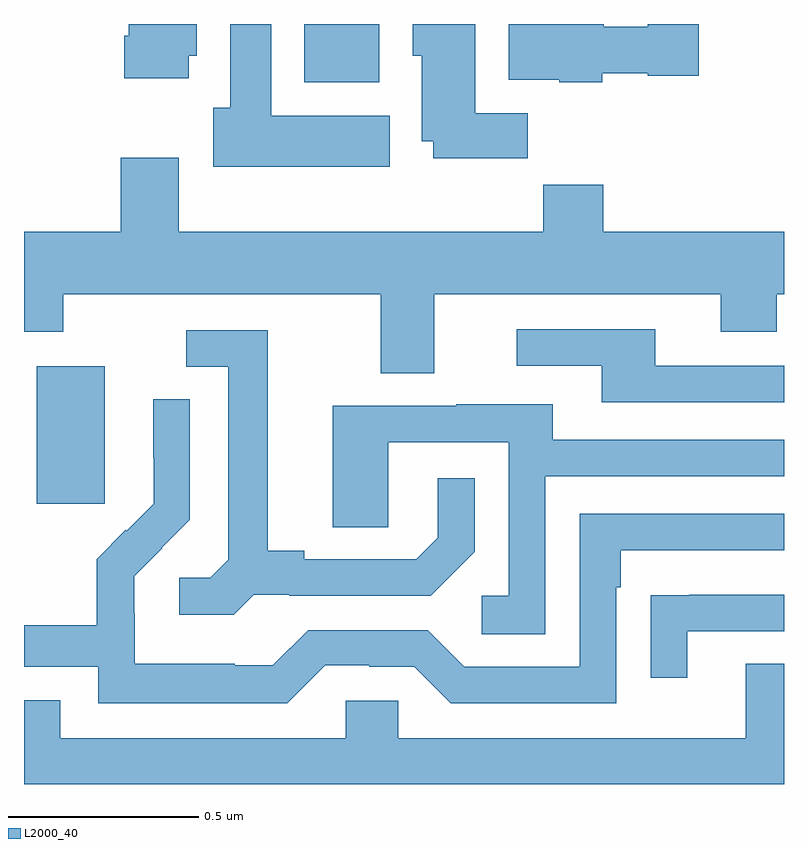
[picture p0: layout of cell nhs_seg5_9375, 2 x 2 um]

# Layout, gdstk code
import gdstk
lib = gdstk.Library(unit=1e-6, precision=1e-09)
def R(c, l, rs):  # rectangles x0, y0, x1, y1
    for r in rs: c.add(gdstk.rectangle(r[:2], r[2:], *l))
def P(c, l, *ps):  # polygons
    for p in ps: c.add(gdstk.Polygon(p, *l))
L2000_40 = (2000, 40)

nhs_seg5_9375 = lib.new_cell('nhs_seg5_9375')
R(nhs_seg5_9375, L2000_40, [(233.033,861.537,233.212,861.898), (233.738,862.646,233.935,862.799)])
P(nhs_seg5_9375, L2000_40, [(234.522,862.67),(234.642,862.67),(234.642,862.663),(234.775,862.663),(234.775,862.799),(234.642,862.799),(234.642,862.792),(234.526,862.792),(234.526,862.799),(234.275,862.799),(234.275,862.652),(234.408,862.652),(234.408,862.646),(234.522,862.646)],
  [(234.326,862.564),(234.187,862.564),(234.187,862.799),(234.023,862.799),(234.023,862.716),(234.047,862.716),(234.047,862.49),(234.077,862.49),(234.077,862.446),(234.326,862.446)],
  [(233.434,862.716),(233.455,862.716),(233.455,862.799),(233.276,862.799),(233.276,862.768),(233.264,862.768),(233.264,862.656),(233.434,862.656)],
  [(233.962,862.558),(233.65,862.558),(233.65,862.799),(233.543,862.799),(233.543,862.578),(233.498,862.578),(233.498,862.424),(233.962,862.424)],
  [(234.079,862.088),(234.833,862.088),(234.833,861.989),(234.981,861.989),(234.981,862.088),(235,862.088),(235,862.252),(234.524,862.252),(234.524,862.376),(234.367,862.376),(234.367,862.252),(233.407,862.252),(233.407,862.447),(233.255,862.447),(233.255,862.252),(233,862.252),(233,861.989),(233.103,861.989),(233.103,862.088),(233.939,862.088),(233.939,861.88),(234.079,861.88)],
  [(235,861.9),(234.661,861.9),(234.661,861.996),(234.297,861.996),(234.297,861.9),(234.521,861.9),(234.521,861.804),(235,861.804)],
  [(233.604,861.297),(233.698,861.297),(233.698,861.294),(234.07,861.294),(234.186,861.41),(234.186,861.604),(234.089,861.604),(234.089,861.447),(234.032,861.39),(233.737,861.39),(233.737,861.413),(233.641,861.413),(233.641,861.993),(233.427,861.993),(233.427,861.897),(233.537,861.897),(233.537,861.389),(233.49,861.342),(233.409,861.342),(233.409,861.245),(233.552,861.245)],
  [(233.793,861.111),(233.909,861.111),(233.909,861.108),(234.027,861.108),(234.123,861.012),(234.558,861.012),(234.558,861.317),(234.571,861.317),(234.571,861.414),(235,861.414),(235,861.51),(234.462,861.51),(234.462,861.108),(234.159,861.108),(234.063,861.204),(233.748,861.204),(233.655,861.111),(233.555,861.111),(233.555,861.115),(233.292,861.115),(233.292,861.249),(233.29,861.249),(233.29,861.346),(233.364,861.42),(233.363,861.421),(233.436,861.494),(233.436,861.812),(233.34,861.812),(233.34,861.658),(233.342,861.658),(233.342,861.536),(233.271,861.465),(233.268,861.468),(233.191,861.391),(233.191,861.217),(233,861.217),(233,861.108),(233.196,861.108),(233.196,861.011),(233.693,861.011)],
  [(234.372,861.609),(235,861.609),(235,861.705),(234.391,861.705),(234.391,861.799),(234.137,861.799),(234.137,861.795),(233.813,861.795),(233.813,861.475),(233.958,861.475),(233.958,861.699),(234.276,861.699),(234.276,861.294),(234.204,861.294),(234.204,861.193),(234.372,861.193)],
  [(234.745,861.201),(235,861.201),(235,861.297),(234.751,861.297),(234.751,861.296),(234.649,861.296),(234.649,861.078),(234.745,861.078)],
  [(235,861.115),(234.899,861.115),(234.899,860.92),(233.985,860.92),(233.985,861.018),(233.847,861.018),(233.847,860.92),(233.095,860.92),(233.095,861.019),(233,861.019),(233,860.799),(235,860.799)])

lib.write_gds('nhs_seg5_9375.gds')
